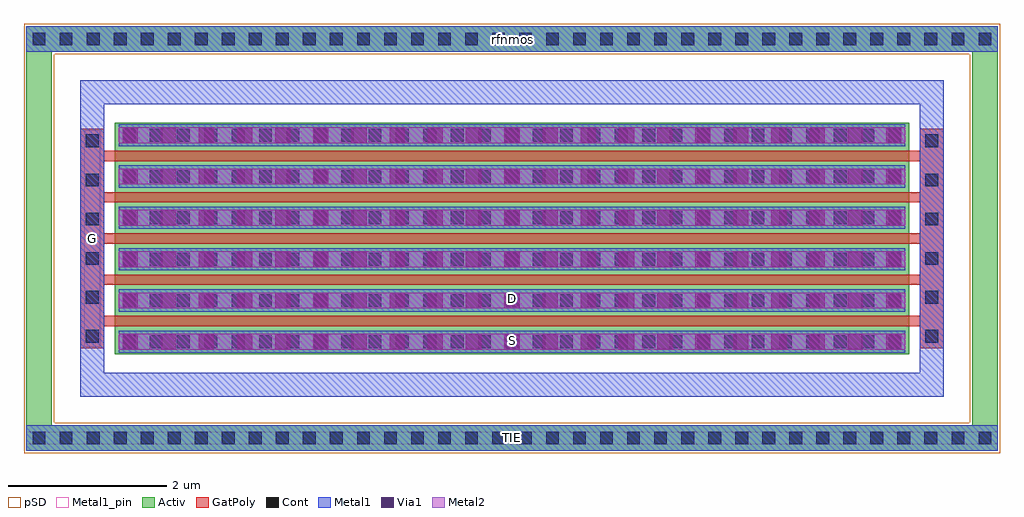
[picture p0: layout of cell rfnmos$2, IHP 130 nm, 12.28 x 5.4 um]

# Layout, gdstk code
import gdstk
lib = gdstk.Library(unit=1e-6, precision=1e-09)
def R(c, l, rs):  # rectangles x0, y0, x1, y1
    for r in rs: c.add(gdstk.rectangle(r[:2], r[2:], *l))
def A(c, l, x, y, w, h, nx, ny, dx, dy):  # array of equal rectangles
    R(c, l, [(x+i*dx, y+j*dy, x+i*dx+w, y+j*dy+h) for i in range(nx) for j in range(ny)])
def P(c, l, *ps):  # polygons
    for p in ps: c.add(gdstk.Polygon(p, *l))
Activ = (1, 0)
GatPoly = (5, 0)
Cont = (6, 0)
Metal1 = (8, 0)
Metal1_pin = (8, 2)
Metal2 = (10, 0)
pSD = (14, 0)
Via1 = (19, 0)

rfnmos_2 = lib.new_cell('rfnmos$2')
R(rfnmos_2, Activ, [(1.14,1.245,11.14,4.155)])
P(rfnmos_2, Activ, [(0.03,0.03),(0.03,5.05),(0.35,5.05),(0.35,0.35),(11.93,0.35),(11.93,5.05),(0.03,5.05),(0.03,5.37),(12.25,5.37),(12.25,0.03)])
A(rfnmos_2, GatPoly, 1.01, 1.595, 10.26, 0.13, 1, 5, 0, 0.52)
R(rfnmos_2, GatPoly, [(0.71,1.32,1.01,4.08), (11.27,1.32,11.57,4.08)])
A(rfnmos_2, Cont, 0.11, 0.11, 0.16, 0.16, 36, 2, 0.34, 5.02)
A(rfnmos_2, Cont, 1.24, 1.32, 0.16, 0.16, 1, 6, 0, 0.52)
A(rfnmos_2, Cont, 1.58, 1.32, 0.16, 0.16, 7, 6, 0.345, 0.52)
A(rfnmos_2, Cont, 3.99, 1.32, 0.16, 0.16, 7, 6, 0.345, 0.52)
A(rfnmos_2, Cont, 6.4, 1.32, 0.16, 0.16, 7, 6, 0.345, 0.52)
A(rfnmos_2, Cont, 8.81, 1.32, 0.16, 0.16, 7, 6, 0.345, 0.52)
A(rfnmos_2, Cont, 0.78, 1.39, 0.16, 0.16, 1, 3, 0, 0.49)
A(rfnmos_2, Cont, 11.34, 1.39, 0.16, 0.16, 1, 3, 0, 0.49)
R(rfnmos_2, Cont, [(0.78,2.865,0.94,3.025), (11.34,2.865,11.5,3.025), (0.78,3.355,0.94,3.515), (11.34,3.355,11.5,3.515), (0.78,3.85,0.94,4.01), (11.34,3.85,11.5,4.01)])
A(rfnmos_2, Metal1, 1.19, 1.26, 9.9, 0.28, 1, 6, 0, 0.52)
R(rfnmos_2, Metal1, [(0.03,0.03,12.25,0.35), (0.76,1.34,0.96,4.06), (11.32,1.34,11.52,4.06), (0.03,5.05,12.25,5.37)])
P(rfnmos_2, Metal1, [(0.71,0.71),(0.71,4.39),(1.01,4.39),(1.01,1.01),(11.27,1.01),(11.27,4.39),(0.71,4.39),(0.71,4.69),(11.57,4.69),(11.57,0.71)])
R(rfnmos_2, Metal1_pin, [(0.03,0.11,12.25,0.27), (0.03,0.11,12.25,0.27), (1.19,1.26,11.09,1.54), (1.19,1.26,11.09,1.54), (0.76,1.34,0.96,4.06), (0.76,1.34,0.96,4.06), (1.19,1.78,11.09,2.06), (1.19,1.78,11.09,2.06)])
A(rfnmos_2, Metal2, 1.19, 1.3, 9.9, 0.2, 1, 6, 0, 0.52)
P(rfnmos_2, pSD, [(0,0),(0,5.02),(0.38,5.02),(0.38,0.38),(11.9,0.38),(11.9,5.02),(0,5.02),(0,5.4),(12.28,5.4),(12.28,0)])
A(rfnmos_2, Via1, 1.24, 1.305, 0.19, 0.19, 10, 6, 0.48, 0.52)
A(rfnmos_2, Via1, 6.045, 1.305, 0.19, 0.19, 10, 6, 0.48, 0.52)
A(rfnmos_2, Via1, 10.85, 1.305, 0.19, 0.19, 1, 6, 0, 0.52)
rfnmos_2.add(gdstk.Label('S', (6.14,1.42), layer=63, texttype=0))
rfnmos_2.add(gdstk.Label('D', (6.14,1.94), layer=63, texttype=0))
rfnmos_2.add(gdstk.Label('G', (0.86,2.7), layer=63, texttype=0))
rfnmos_2.add(gdstk.Label('TIE', (6.14,0.19), layer=63, texttype=0))
rfnmos_2.add(gdstk.Label('rfnmos', (6.14,5.21), layer=63, texttype=0))

lib.write_gds('rfnmos_2.gds')
